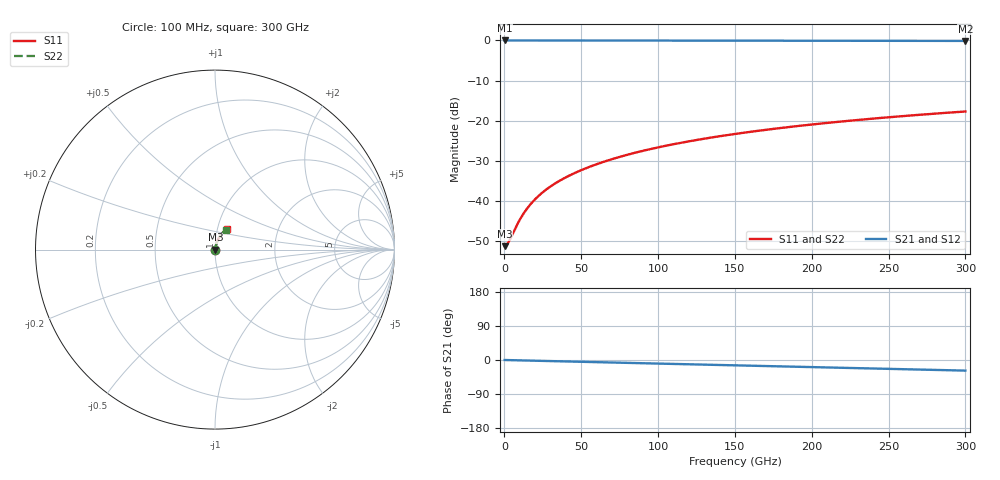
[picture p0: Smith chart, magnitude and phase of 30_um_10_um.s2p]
! Created with skrf (http://scikit-rf.org).
# Hz S RI R 50.0
!freq ReS11 ImS11 ReS21 ImS21 ReS12 ImS12 ReS22 ImS22
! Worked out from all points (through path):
!   3000 points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, 100 MHz to 300 GHz, reference 50 ohm
!   highest |S21| = -0.02 dB at 100 MHz (marker M1); lowest = -0.1 dB at 300 GHz (marker M2)
!   group delay of S21, straight-line fit = 259 fs
!   lowest |S11| = -51.2 dB at 100 MHz (marker M3), VSWR 1.01, Z = 50.3 + j0.00514 ohm
!   |S11| at or under -10 dB: start of sweep to end of sweep
!   |S22| runs from -51.2 to -17.8 dB; largest |S21 - S12| = 0.00069
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1e8  0.00275 5.11e-05  0.9973 -0.00017  0.9973 -0.00017  0.00275 5.03e-05
1.5e9  0.00275 0.000766  0.9972 -0.00255  0.9972 -0.00255  0.00275 0.000755
2.8e9  0.00276 0.00143  0.9972 -0.00476  0.9972 -0.00476  0.00276 0.00141
8.7e9  0.00291 0.00442  0.997 -0.0148  0.997 -0.0148  0.00291 0.00435
1.06e10  0.00299 0.00537  0.9969 -0.018  0.9969 -0.018  0.00299 0.00529
1.25e10  0.00308 0.00631  0.9968 -0.0212  0.9968 -0.0212  0.00308 0.00622
1.63e10  0.00329 0.00817  0.9965 -0.0275  0.9965 -0.0275  0.00329 0.00805
2.06e10  0.00358 0.0102  0.9961 -0.0347  0.9961 -0.0347  0.00357 0.0101
2.64e10  0.004 0.0129  0.9954 -0.0442  0.9955 -0.0443  0.004 0.0128
3.32e10  0.00454 0.016  0.9946 -0.0554  0.9946 -0.0554  0.00453 0.0158
4.1e10  0.0052 0.0195  0.9936 -0.0681  0.9936 -0.0681  0.00518 0.0192
5.01e10  0.00601 0.0236  0.9922 -0.0828  0.9922 -0.0828  0.00598 0.0232
6.07e10  0.00705 0.0282  0.9902 -0.1  0.9903 -0.1  0.00701 0.0277
7.25e10  0.00838 0.0333  0.9877 -0.1191  0.9878 -0.1191  0.00833 0.0328
8.56e10  0.0101 0.0389  0.9845 -0.1401  0.9845 -0.1401  0.00999 0.0383
1.001e11  0.0122 0.045  0.9804 -0.1633  0.9804 -0.1633  0.0121 0.0443
1.236e11  0.016 0.0546  0.9726 -0.2006  0.9727 -0.2006  0.0159 0.0537
1.501e11  0.0212 0.0651  0.962 -0.242  0.9622 -0.2421  0.021 0.064
1.739e11  0.0266 0.0741  0.951 -0.2787  0.9512 -0.2788  0.0263 0.0728
2.001e11  0.0331 0.0834  0.9371 -0.3185  0.9374 -0.3187  0.0328 0.082
2.501e11  0.0476 0.0997  0.906 -0.3922  0.9064 -0.3925  0.047 0.098
3e11  0.0641 0.1134  0.869 -0.4623  0.8695 -0.4627  0.0634 0.1115
